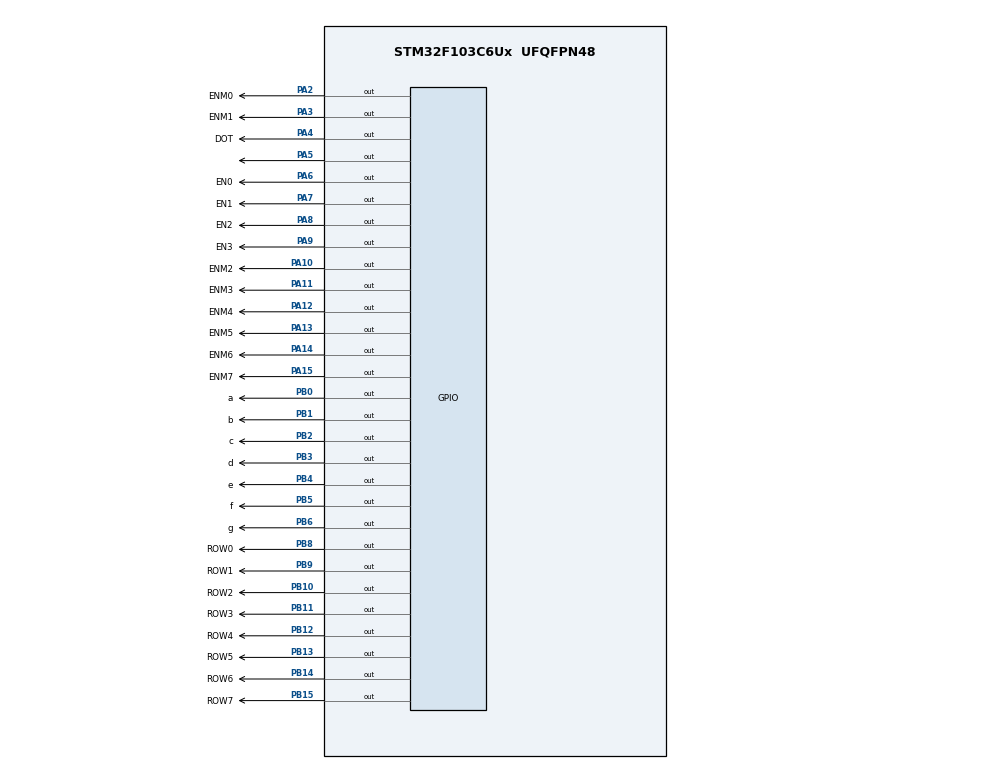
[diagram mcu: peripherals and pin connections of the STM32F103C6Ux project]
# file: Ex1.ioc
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Mcu.Family=STM32F1
Mcu.Name=STM32F103C6Ux
Mcu.Package=UFQFPN48
NVIC.PriorityGroup=NVIC_PRIORITYGROUP_4
NVIC.TIM2_IRQn=true\:0\:0\:false\:false\:true\:true\:true
PA10.GPIO_Label=ENM2
PA10.Signal=GPIO_Output
PA11.GPIO_Label=ENM3
PA11.Signal=GPIO_Output
PA12.GPIO_Label=ENM4
PA12.Signal=GPIO_Output
PA13.GPIO_Label=ENM5
PA13.Signal=GPIO_Output
PA14.GPIO_Label=ENM6
PA14.Signal=GPIO_Output
PA15.GPIO_Label=ENM7
PA15.Signal=GPIO_Output
PA2.GPIO_Label=ENM0
PA2.Signal=GPIO_Output
PA3.GPIO_Label=ENM1
PA3.Signal=GPIO_Output
PA4.GPIO_Label=DOT
PA4.Signal=GPIO_Output
PA5.Signal=GPIO_Output
PA6.GPIO_Label=EN0
PA6.Signal=GPIO_Output
PA7.GPIO_Label=EN1
PA7.Signal=GPIO_Output
PA8.GPIO_Label=EN2
PA8.Signal=GPIO_Output
PA9.GPIO_Label=EN3
PA9.Signal=GPIO_Output
PB0.GPIO_Label=a
PB0.Signal=GPIO_Output
PB1.GPIO_Label=b
PB1.Signal=GPIO_Output
PB10.GPIO_Label=ROW2
PB10.Signal=GPIO_Output
PB11.GPIO_Label=ROW3
PB11.Signal=GPIO_Output
PB12.GPIO_Label=ROW4
PB12.Signal=GPIO_Output
PB13.GPIO_Label=ROW5
PB13.Signal=GPIO_Output
PB14.GPIO_Label=ROW6
PB14.Signal=GPIO_Output
PB15.GPIO_Label=ROW7
PB15.Signal=GPIO_Output
PB2.GPIO_Label=c
PB2.Signal=GPIO_Output
PB3.GPIO_Label=d
PB3.Signal=GPIO_Output
PB4.GPIO_Label=e
PB4.Signal=GPIO_Output
PB5.GPIO_Label=f
PB5.Signal=GPIO_Output
PB6.GPIO_Label=g
PB6.Signal=GPIO_Output
PB8.GPIO_Label=ROW0
PB8.Signal=GPIO_Output
PB9.GPIO_Label=ROW1
PB9.Signal=GPIO_Output
ProjectManager.HeapSize=0x200
ProjectManager.StackSize=0x400
ProjectManager.TargetToolchain=STM32CubeIDE
RCC.APB1Freq_Value=8000000
RCC.APB2Freq_Value=8000000
TIM2.Period=9
TIM2.Prescaler=7999
VP_SYS_VS_ND.Mode=No_Debug
VP_TIM2_VS_ClockSourceINT.Mode=Internal
board=custom

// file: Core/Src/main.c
/* USER CODE BEGIN Header */
/**
  ******************************************************************************
  * @file           : main.c
  * @brief          : Main program body
  ******************************************************************************
  * @attention
  *
  * <h2><center>&copy; Copyright (c) 2022 STMicroelectronics.
  * All rights reserved.</center></h2>
  *
  * This software component is licensed by ST under BSD 3-Clause license,
  * the "License"; You may not use this file except in compliance with the
  * License. You may obtain a copy of the License at:
  *                        opensource.org/licenses/BSD-3-Clause
  *
  ******************************************************************************
  */
/* USER CODE END Header */
#include "main.h"

/* USER CODE BEGIN Includes */
#include "software_timer.h"
/* USER CODE END Includes */

TIM_HandleTypeDef htim2;

void SystemClock_Config(void);
static void MX_GPIO_Init(void);
static void MX_TIM2_Init(void);

/* USER CODE BEGIN 0 */
const int MAX_LED = 4;
const int MAX_LED_MATRIX = 8;
int index_led_matrix = 0;
int shift_matrix = 0;
uint8_t matrix_buffer[8] = {0xFF,0xF7,0xFF,0xFF,0xFF,0xFF,0xFF,0xFF};
void updateLEDmatrixRow(uint8_t data)
{
	HAL_GPIO_WritePin(GPIOB, ROW0_Pin, (data>>0)&0x01);
	HAL_GPIO_WritePin(GPIOB, ROW1_Pin, (data>>1)&0x01);
	HAL_GPIO_WritePin(GPIOB, ROW2_Pin, (data>>2)&0x01);
	HAL_GPIO_WritePin(GPIOB, ROW3_Pin, (data>>3)&0x01);
	HAL_GPIO_WritePin(GPIOB, ROW4_Pin, (data>>4)&0x01);
	HAL_GPIO_WritePin(GPIOB, ROW5_Pin, (data>>5)&0x01);
	HAL_GPIO_WritePin(GPIOB, ROW6_Pin, (data>>6)&0x01);
	HAL_GPIO_WritePin(GPIOB, ROW7_Pin, (data>>7)&0x01);
}
void updateLEDMatrix(int index)
{
	HAL_GPIO_WritePin(GPIOA, ENM0_Pin|ENM1_Pin|ENM2_Pin|ENM3_Pin|ENM4_Pin|ENM5_Pin|ENM6_Pin|ENM7_Pin, SET);
	switch(index)
	{
	case 0:
		HAL_GPIO_WritePin(GPIOA, ENM0_Pin, RESET);
		updateLEDmatrixRow(matrix_buffer[index]);
		break;
	case 1:
		HAL_GPIO_WritePin(GPIOA, ENM1_Pin, RESET);
		updateLEDmatrixRow(matrix_buffer[index]);
		break;
	case 2:
		HAL_GPIO_WritePin(GPIOA, ENM2_Pin, RESET);
		updateLEDmatrixRow(matrix_buffer[index]);
		break;
	case 3:
		HAL_GPIO_WritePin(GPIOA, ENM3_Pin, RESET);
		updateLEDmatrixRow(matrix_buffer[index]);
		break;
	case 4:
		HAL_GPIO_WritePin(GPIOA, ENM4_Pin, RESET);
		updateLEDmatrixRow(matrix_buffer[index]);
		break;
	case 5:
		HAL_GPIO_WritePin(GPIOA, ENM5_Pin, RESET);
		updateLEDmatrixRow(matrix_buffer[index]);
		break;
	case 6:
		HAL_GPIO_WritePin(GPIOA, ENM6_Pin, RESET);
		updateLEDmatrixRow(matrix_buffer[index]);
		break;
	case 7:
		HAL_GPIO_WritePin(GPIOA, ENM7_Pin, RESET);
		updateLEDmatrixRow(matrix_buffer[index]);
		break;
	default:
		break;
	}
}
void copymatrix(uint8_t tempmatrix[])
{
	matrix_buffer[0] = tempmatrix[0];
	matrix_buffer[1] = tempmatrix[1];
	matrix_buffer[2] = tempmatrix[2];
	matrix_buffer[3] = tempmatrix[3];
	matrix_buffer[4] = tempmatrix[4];
	matrix_buffer[5] = tempmatrix[5];
	matrix_buffer[6] = tempmatrix[6];
	matrix_buffer[7] = tempmatrix[7];
}

void shiftmatrix(int index)
{
	if (index == 0)
	{
		uint8_t tempmatrix[8] = {0xFF,0xF7,0xFF,0xFF,0xFF,0xFF,0xFF,0xFF};
		copymatrix(tempmatrix);
	}
	else if(index == 1)
	{
		uint8_t tempmatrix[8] = {0xAA,0xDD,0xF7,0xFF,0xFF,0xFF,0xFF,0xFF};
		copymatrix(tempmatrix);
	}
	else if(index == 2)
	{
		uint8_t tempmatrix[8] = {0xB6,0xAA,0xDD,0xF7,0xFF,0xFF,0xFF,0xFF};
		copymatrix(tempmatrix);
	}
	else if(index == 3)
	{
		uint8_t tempmatrix[8] = {0xDD,0xBE,0xB6,0xAA,0xDD,0xF7,0xFF,0xFF};
		copymatrix(tempmatrix);
	}
	else if(index == 4)
	{
		uint8_t tempmatrix[8] = {0xE3,0xDD,0xBE,0xB6,0xAA,0xDD,0xF7,0xFF};
		copymatrix(tempmatrix);
	}
	else if(index == 5)
	{
		uint8_t tempmatrix[8] = {0xFF,0xE3,0xDD,0xBE,0xB6,0xAA,0xDD,0xF7};
		copymatrix(tempmatrix);
	}
	else if(index == 6)
	{
		uint8_t tempmatrix[8] = {0xFF,0xFF,0xE3,0xDD,0xBE,0xB6,0xAA,0xDD};
		copymatrix(tempmatrix);
	}
	else if(index == 7)
	{
		uint8_t tempmatrix[8] = {0xFF,0xFF,0xE3,0xDD,0xBE,0xB6,0xAA,0xDD};
		copymatrix(tempmatrix);
	}
	else if(index == 8)
	{
		uint8_t tempmatrix[8] = {0xFF,0xFF,0xFF,0xFF,0xFF,0xFF,0xE3,0xDD};
		copymatrix(tempmatrix);
	}
	else if(index == 9)
	{
		uint8_t tempmatrix[8] = {0xFF,0xFF,0xFF,0xFF,0xFF,0xFF,0xFF,0xE3};
		copymatrix(tempmatrix);
	}
}
/* USER CODE END 0 */

int main(void)
{

  /* MCU Configuration--------------------------------------------------------*/

  /* Reset of all peripherals, Initializes the Flash interface and the Systick. */
  HAL_Init();

  /* Configure the system clock */
  SystemClock_Config();

  /* Initialize all configured peripherals */
  MX_GPIO_Init();
  MX_TIM2_Init();
  /* USER CODE BEGIN 2 */
  HAL_TIM_Base_Start_IT(&htim2);
  /* USER CODE END 2 */

  /* Infinite loop */
  /* USER CODE BEGIN WHILE */
  setTimer1(20);
  while (1)
  {
	if(timer1_flag == 1)
	{
		updateLEDMatrix(index_led_matrix++);
		if(index_led_matrix == MAX_LED_MATRIX)
		{
			index_led_matrix = 0;
			if(shift_matrix > 9)
			{
				shift_matrix = 0;
			}
			shiftmatrix(shift_matrix++);
		}
		setTimer1(20);
	}
    /* USER CODE END WHILE */

  }
}

void SystemClock_Config(void)
{
  RCC_OscInitTypeDef RCC_OscInitStruct = {0};
  RCC_ClkInitTypeDef RCC_ClkInitStruct = {0};

  /** Initializes the RCC Oscillators according to the specified parameters
  * in the RCC_OscInitTypeDef structure.
  */
  RCC_OscInitStruct.OscillatorType = RCC_OSCILLATORTYPE_HSI;
  RCC_OscInitStruct.HSIState = RCC_HSI_ON;
  RCC_OscInitStruct.HSICalibrationValue = RCC_HSICALIBRATION_DEFAULT;
  RCC_OscInitStruct.PLL.PLLState = RCC_PLL_NONE;
  if (HAL_RCC_OscConfig(&RCC_OscInitStruct) != HAL_OK)
  {
    Error_Handler();
  }
  /** Initializes the CPU, AHB and APB buses clocks
  */
  RCC_ClkInitStruct.ClockType = RCC_CLOCKTYPE_HCLK|RCC_CLOCKTYPE_SYSCLK
                              |RCC_CLOCKTYPE_PCLK1|RCC_CLOCKTYPE_PCLK2;
  RCC_ClkInitStruct.SYSCLKSource = RCC_SYSCLKSOURCE_HSI;
  RCC_ClkInitStruct.AHBCLKDivider = RCC_SYSCLK_DIV1;
  RCC_ClkInitStruct.APB1CLKDivider = RCC_HCLK_DIV1;
  RCC_ClkInitStruct.APB2CLKDivider = RCC_HCLK_DIV1;

  if (HAL_RCC_ClockConfig(&RCC_ClkInitStruct, FLASH_LATENCY_0) != HAL_OK)
  {
    Error_Handler();
  }
}

static void MX_TIM2_Init(void)
{

  TIM_ClockConfigTypeDef sClockSourceConfig = {0};
  TIM_MasterConfigTypeDef sMasterConfig = {0};

  htim2.Instance = TIM2;
  htim2.Init.Prescaler = 7999;
  htim2.Init.CounterMode = TIM_COUNTERMODE_UP;
  htim2.Init.Period = 9;
  htim2.Init.ClockDivision = TIM_CLOCKDIVISION_DIV1;
  htim2.Init.AutoReloadPreload = TIM_AUTORELOAD_PRELOAD_DISABLE;
  if (HAL_TIM_Base_Init(&htim2) != HAL_OK)
  {
    Error_Handler();
  }
  sClockSourceConfig.ClockSource = TIM_CLOCKSOURCE_INTERNAL;
  if (HAL_TIM_ConfigClockSource(&htim2, &sClockSourceConfig) != HAL_OK)
  {
    Error_Handler();
  }
  sMasterConfig.MasterOutputTrigger = TIM_TRGO_RESET;
  sMasterConfig.MasterSlaveMode = TIM_MASTERSLAVEMODE_DISABLE;
  if (HAL_TIMEx_MasterConfigSynchronization(&htim2, &sMasterConfig) != HAL_OK)
  {
    Error_Handler();
  }

}

static void MX_GPIO_Init(void)
{
  GPIO_InitTypeDef GPIO_InitStruct = {0};

  /* GPIO Ports Clock Enable */
  __HAL_RCC_GPIOA_CLK_ENABLE();
  __HAL_RCC_GPIOB_CLK_ENABLE();

  /*Configure GPIO pin Output Level */
  HAL_GPIO_WritePin(GPIOA, ENM0_Pin|ENM1_Pin|DOT_Pin|GPIO_PIN_5
                          |EN0_Pin|EN1_Pin|EN2_Pin|EN3_Pin
                          |ENM2_Pin|ENM3_Pin|ENM4_Pin|ENM5_Pin
                          |ENM6_Pin|ENM7_Pin, GPIO_PIN_RESET);

  /*Configure GPIO pin Output Level */
  HAL_GPIO_WritePin(GPIOB, a_Pin|b_Pin|c_Pin|ROW2_Pin
                          |ROW3_Pin|ROW4_Pin|ROW5_Pin|ROW6_Pin
                          |ROW7_Pin|d_Pin|e_Pin|f_Pin
                          |g_Pin|ROW0_Pin|ROW1_Pin, GPIO_PIN_RESET);

  /*Configure GPIO pins : ENM0_Pin ENM1_Pin DOT_Pin PA5
                           EN0_Pin EN1_Pin EN2_Pin EN3_Pin
                           ENM2_Pin ENM3_Pin ENM4_Pin ENM5_Pin
                           ENM6_Pin ENM7_Pin */
  GPIO_InitStruct.Pin = ENM0_Pin|ENM1_Pin|DOT_Pin|GPIO_PIN_5
                          |EN0_Pin|EN1_Pin|EN2_Pin|EN3_Pin
                          |ENM2_Pin|ENM3_Pin|ENM4_Pin|ENM5_Pin
                          |ENM6_Pin|ENM7_Pin;
  GPIO_InitStruct.Mode = GPIO_MODE_OUTPUT_PP;
  GPIO_InitStruct.Pull = GPIO_NOPULL;
  GPIO_InitStruct.Speed = GPIO_SPEED_FREQ_LOW;
  HAL_GPIO_Init(GPIOA, &GPIO_InitStruct);

  /*Configure GPIO pins : a_Pin b_Pin c_Pin ROW2_Pin
                           ROW3_Pin ROW4_Pin ROW5_Pin ROW6_Pin
                           ROW7_Pin d_Pin e_Pin f_Pin
                           g_Pin ROW0_Pin ROW1_Pin */
  GPIO_InitStruct.Pin = a_Pin|b_Pin|c_Pin|ROW2_Pin
                          |ROW3_Pin|ROW4_Pin|ROW5_Pin|ROW6_Pin
                          |ROW7_Pin|d_Pin|e_Pin|f_Pin
                          |g_Pin|ROW0_Pin|ROW1_Pin;
  GPIO_InitStruct.Mode = GPIO_MODE_OUTPUT_PP;
  GPIO_InitStruct.Pull = GPIO_NOPULL;
  GPIO_InitStruct.Speed = GPIO_SPEED_FREQ_LOW;
  HAL_GPIO_Init(GPIOB, &GPIO_InitStruct);

}

/* USER CODE BEGIN 4 */
int counter1 = 25;
void HAL_TIM_PeriodElapsedCallback(TIM_HandleTypeDef *htim)
{
	timerRun();
}
/* USER CODE END 4 */

void Error_Handler(void)
{
  __disable_irq();
  while (1)
  {
  }
}

/************************ (C) COPYRIGHT STMicroelectronics *****END OF FILE****/
